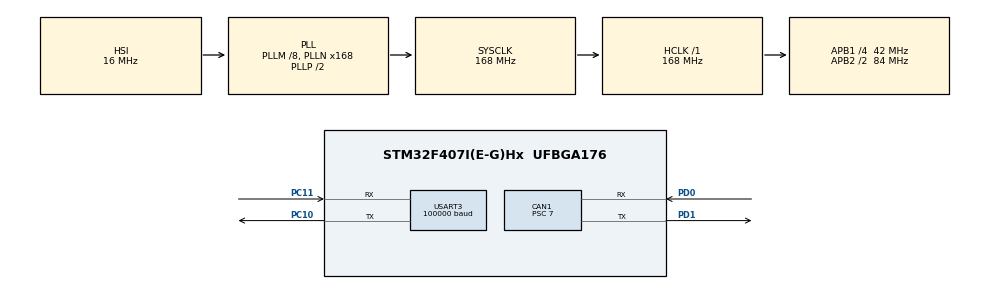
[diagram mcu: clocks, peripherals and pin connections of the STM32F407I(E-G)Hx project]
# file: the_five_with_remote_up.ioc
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CAN1.BS1=CAN_BS1_2TQ
CAN1.BS2=CAN_BS2_3TQ
CAN1.CalculateBaudRate=999999
CAN1.CalculateTimeBit=1000
CAN1.CalculateTimeQuantum=166.66666666666669
CAN1.Prescaler=7
Dma.Request0=USART3_RX
Dma.USART3_RX.0.Direction=DMA_PERIPH_TO_MEMORY
Dma.USART3_RX.0.FIFOMode=DMA_FIFOMODE_DISABLE
Dma.USART3_RX.0.Instance=DMA1_Stream1
Dma.USART3_RX.0.MemDataAlignment=DMA_MDATAALIGN_BYTE
Dma.USART3_RX.0.MemInc=DMA_MINC_ENABLE
Dma.USART3_RX.0.Mode=DMA_CIRCULAR
Dma.USART3_RX.0.PeriphDataAlignment=DMA_PDATAALIGN_BYTE
Dma.USART3_RX.0.PeriphInc=DMA_PINC_DISABLE
Dma.USART3_RX.0.Priority=DMA_PRIORITY_VERY_HIGH
FREERTOS.Tasks01=defaultTask,0,128,StartDefaultTask,Default,NULL,Dynamic,NULL,NULL
Mcu.Family=STM32F4
Mcu.Name=STM32F407I(E-G)Hx
Mcu.Package=UFBGA176
NVIC.CAN1_RX0_IRQn=true\:5\:0\:false\:false\:true\:true\:true\:true\:true
NVIC.DMA1_Stream1_IRQn=true\:5\:0\:false\:false\:true\:true\:false\:true\:true
NVIC.PriorityGroup=NVIC_PRIORITYGROUP_4
NVIC.TIM1_UP_TIM10_IRQn=true\:15\:0\:false\:false\:true\:false\:false\:true\:true
NVIC.TimeBase=TIM1_UP_TIM10_IRQn
NVIC.TimeBaseIP=TIM1
NVIC.USART3_IRQn=true\:5\:0\:false\:false\:true\:true\:true\:true\:true
PA13.Mode=Serial_Wire
PA13.Signal=SYS_JTMS-SWDIO
PA14.Mode=Serial_Wire
PA14.Signal=SYS_JTCK-SWCLK
PC10.Mode=Asynchronous
PC10.Signal=USART3_TX
PC11.Mode=Asynchronous
PC11.Signal=USART3_RX
PC14-OSC32_IN.Mode=LSE-External-Oscillator
PC14-OSC32_IN.Signal=RCC_OSC32_IN
PC15-OSC32_OUT.Mode=LSE-External-Oscillator
PC15-OSC32_OUT.Signal=RCC_OSC32_OUT
PD0.Mode=CAN_Activate
PD0.Signal=CAN1_RX
PD1.Mode=CAN_Activate
PD1.Signal=CAN1_TX
PH0-OSC_IN.Mode=HSE-External-Oscillator
PH0-OSC_IN.Signal=RCC_OSC_IN
PH1-OSC_OUT.Mode=HSE-External-Oscillator
PH1-OSC_OUT.Signal=RCC_OSC_OUT
ProjectManager.HeapSize=0x200
ProjectManager.StackSize=0x400
ProjectManager.TargetToolchain=MDK-ARM V5.32
RCC.48MHZClocksFreq_Value=84000000
RCC.AHBFreq_Value=168000000
RCC.APB1CLKDivider=RCC_HCLK_DIV4
RCC.APB1Freq_Value=42000000
RCC.APB1TimFreq_Value=84000000
RCC.APB2CLKDivider=RCC_HCLK_DIV2
RCC.APB2Freq_Value=84000000
RCC.APB2TimFreq_Value=168000000
RCC.CortexFreq_Value=168000000
RCC.HCLKFreq_Value=168000000
RCC.HSE_VALUE=25000000
RCC.HSI_VALUE=16000000
RCC.PLLM=8
RCC.PLLN=168
RCC.SYSCLKFreq_VALUE=168000000
RCC.SYSCLKSource=RCC_SYSCLKSOURCE_PLLCLK
RCC.VCOOutputFreq_Value=336000000
USART3.BaudRate=100000
USART3.VirtualMode=VM_ASYNC
USART3.WordLength=WORDLENGTH_9B
VP_FREERTOS_VS_CMSIS_V1.Mode=CMSIS_V1
VP_SYS_VS_tim1.Mode=TIM1
board=custom

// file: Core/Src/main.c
/* USER CODE BEGIN Header */
/**
  ******************************************************************************
  * @file           : main.c
  * @brief          : Main program body
  ******************************************************************************
  * @attention
  *
  * Copyright (c) 2024 STMicroelectronics.
  * All rights reserved.
  *
  * This software is licensed under terms that can be found in the LICENSE file
  * in the root directory of this software component.
  * If no LICENSE file comes with this software, it is provided AS-IS.
  *
  ******************************************************************************
  */
/* USER CODE END Header */
#include "main.h"
#include "cmsis_os.h"
#include "can.h"
#include "dma.h"
#include "usart.h"
#include "gpio.h"

/* USER CODE BEGIN Includes */

#include "BSP_CAN.h"
#include "PID.h"
#include "dbus.h"
#define a 1.414213562373;
extern DMA_HandleTypeDef hdma_usart3_rx;
/* USER CODE END Includes */

void SystemClock_Config(void);
void MX_FREERTOS_Init(void);

/* USER CODE BEGIN 0 */
PID_TypeDef motor_pid[4];
int32_t set_spd1=0;
int32_t set_spd2=0;
int32_t set_spd3=0;
int32_t set_spd4=0;
int32_t w=0;//angle rad
int32_t r=10;
int32_t set_spd=0;
/* USER CODE END 0 */

int main(void)
{
  /* USER CODE BEGIN 1 */
	const uint8_t SendBuffer[4]={0x03,0xFC,0xFC,0x03};  // 帧头

  /* USER CODE END 1 */

  /* MCU Configuration--------------------------------------------------------*/

  /* Reset of all peripherals, Initializes the Flash interface and the Systick. */
  HAL_Init();

  /* Configure the system clock */
  SystemClock_Config();

  /* Initialize all configured peripherals */
  MX_GPIO_Init();
  MX_DMA_Init();
  MX_CAN1_Init();
  MX_USART3_UART_Init();
  /* USER CODE BEGIN 2 */
	dbus_init(&huart3,&hdma_usart3_rx);

  //can_filter_init();//can初始化
  //gimbal_PID_init();//PID初始化
  /* USER CODE END 2 */
HAL_CAN_Start(&hcan1);
	my_can_filter_init_recv_all(&hcan1);
	HAL_CAN_ActivateNotification(&hcan1, CAN_IT_RX_FIFO0_MSG_PENDING);  // enable IT
  /* Call init function for freertos objects (in freertos.c) */
  //MX_FREERTOS_Init();

  /* Start scheduler */
  //osKernelStart();

  /* We should never get here as control is now taken by the scheduler */
  /* Infinite loop */

	// set speed (rpm)
  for(int i=0; i<4; i++)
  {
    pid_init(&motor_pid[i]);
    motor_pid[i].f_param_init(&motor_pid[i],PID_Speed,16384,5000,10,0,8000,0,1.5,0.05,0);
  }
  /* USER CODE BEGIN WHILE */
	int32_t vx=0;
	int32_t vy=0;
  while (1)
  {
		vx=rc.ch3;
		vy=rc.ch4;
		set_spd1=-vx*0.5*a+vy*0.5*a+w*r;//m1
		set_spd2=-vx*0.5*a-vy*0.5*a+w*r;//m2
		set_spd3=vx*0.5*a-vy*0.5*a+w*r;//m3
		set_spd4=vx*0.5*a+vy*0.5*a+w*r;//m4
		if(rc.sw2==3){//the right==middle
		w=0;
    /* USER CODE END WHILE */
	  motor_pid[0].target=set_spd1;
		motor_pid[0].f_cal_pid(&motor_pid[0],moto_chassis[0].speed_rpm);
	  motor_pid[1].target=-set_spd2;
		motor_pid[1].f_cal_pid(&motor_pid[1],moto_chassis[1].speed_rpm);
		motor_pid[2].target=-set_spd3;
		motor_pid[2].f_cal_pid(&motor_pid[2],moto_chassis[2].speed_rpm);
		motor_pid[3].target=set_spd4;
		motor_pid[3].f_cal_pid(&motor_pid[3],moto_chassis[3].speed_rpm);
		}else if(rc.sw2==1){//the right==up
		w=10;
		motor_pid[0].target=set_spd1;
		motor_pid[0].f_cal_pid(&motor_pid[0],moto_chassis[0].speed_rpm);
	  motor_pid[1].target=set_spd2;
		motor_pid[1].f_cal_pid(&motor_pid[1],moto_chassis[1].speed_rpm);
		motor_pid[2].target=set_spd3;
		motor_pid[2].f_cal_pid(&motor_pid[2],moto_chassis[2].speed_rpm);
		motor_pid[3].target=set_spd4;
		motor_pid[3].f_cal_pid(&motor_pid[3],moto_chassis[3].speed_rpm);
		HAL_Delay(10);
	}
		set_moto_current(&hcan1, motor_pid[0].output,   //将PID的计算结果通过CAN发送到电机
                        motor_pid[1].output,
                        motor_pid[2].output,
                        motor_pid[3].output);
  }
}

void SystemClock_Config(void)
{
  RCC_OscInitTypeDef RCC_OscInitStruct = {0};
  RCC_ClkInitTypeDef RCC_ClkInitStruct = {0};

  /** Configure the main internal regulator output voltage
  */
  __HAL_RCC_PWR_CLK_ENABLE();
  __HAL_PWR_VOLTAGESCALING_CONFIG(PWR_REGULATOR_VOLTAGE_SCALE1);

  /** Initializes the RCC Oscillators according to the specified parameters
  * in the RCC_OscInitTypeDef structure.
  */
  RCC_OscInitStruct.OscillatorType = RCC_OSCILLATORTYPE_HSI;
  RCC_OscInitStruct.HSIState = RCC_HSI_ON;
  RCC_OscInitStruct.HSICalibrationValue = RCC_HSICALIBRATION_DEFAULT;
  RCC_OscInitStruct.PLL.PLLState = RCC_PLL_ON;
  RCC_OscInitStruct.PLL.PLLSource = RCC_PLLSOURCE_HSI;
  RCC_OscInitStruct.PLL.PLLM = 8;
  RCC_OscInitStruct.PLL.PLLN = 168;
  RCC_OscInitStruct.PLL.PLLP = RCC_PLLP_DIV2;
  RCC_OscInitStruct.PLL.PLLQ = 4;
  if (HAL_RCC_OscConfig(&RCC_OscInitStruct) != HAL_OK)
  {
    Error_Handler();
  }

  /** Initializes the CPU, AHB and APB buses clocks
  */
  RCC_ClkInitStruct.ClockType = RCC_CLOCKTYPE_HCLK|RCC_CLOCKTYPE_SYSCLK
                              |RCC_CLOCKTYPE_PCLK1|RCC_CLOCKTYPE_PCLK2;
  RCC_ClkInitStruct.SYSCLKSource = RCC_SYSCLKSOURCE_PLLCLK;
  RCC_ClkInitStruct.AHBCLKDivider = RCC_SYSCLK_DIV1;
  RCC_ClkInitStruct.APB1CLKDivider = RCC_HCLK_DIV4;
  RCC_ClkInitStruct.APB2CLKDivider = RCC_HCLK_DIV2;

  if (HAL_RCC_ClockConfig(&RCC_ClkInitStruct, FLASH_LATENCY_5) != HAL_OK)
  {
    Error_Handler();
  }
}

/* USER CODE BEGIN 4 */

void HAL_UART_RxCpltCallback(UART_HandleTypeDef *UartHandle)
{
	dbus_callback();

}

/* USER CODE END 4 */

void HAL_TIM_PeriodElapsedCallback(TIM_HandleTypeDef *htim)
{
  if (htim->Instance == TIM1) {
    HAL_IncTick();
  }
}

void Error_Handler(void)
{
  __disable_irq();
  while (1)
  {
  }
}
